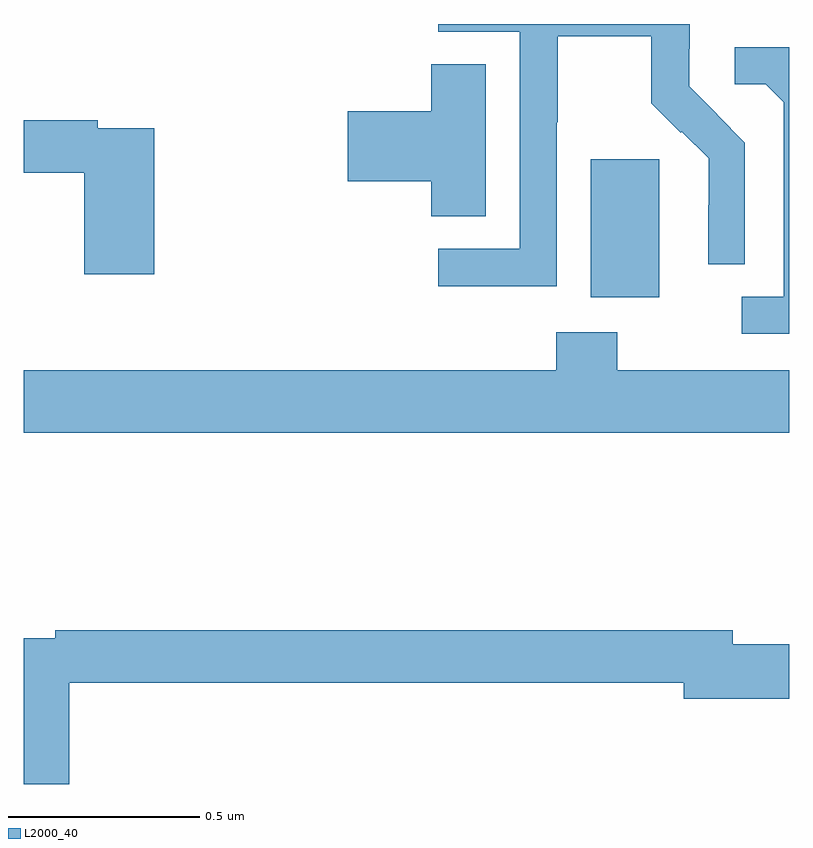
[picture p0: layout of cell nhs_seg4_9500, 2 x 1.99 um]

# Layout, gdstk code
import gdstk
lib = gdstk.Library(unit=1e-6, precision=1e-09)
def R(c, l, rs):  # rectangles x0, y0, x1, y1
    for r in rs: c.add(gdstk.rectangle(r[:2], r[2:], *l))
def P(c, l, *ps):  # polygons
    for p in ps: c.add(gdstk.Polygon(p, *l))
L2000_40 = (2000, 40)

nhs_seg4_9500 = lib.new_cell('nhs_seg4_9500')
R(nhs_seg4_9500, L2000_40, [(229.481,785.186,229.66,785.547)])
P(nhs_seg4_9500, L2000_40, [(229.392,785.644),(229.395,785.644),(229.395,785.868),(229.639,785.868),(229.639,785.693),(229.716,785.616),(229.719,785.619),(229.79,785.549),(229.79,785.426),(229.788,785.426),(229.788,785.272),(229.884,785.272),(229.884,785.59),(229.811,785.663),(229.812,785.664),(229.738,785.738),(229.738,785.835),(229.74,785.835),(229.74,785.9),(229.083,785.9),(229.083,785.88),(229.296,785.88),(229.296,785.313),(229.083,785.313),(229.083,785.215),(229.392,785.215)],
  [(230,785.839),(229.857,785.839),(229.857,785.742),(229.938,785.742),(229.985,785.695),(229.985,785.187),(229.875,785.187),(229.875,785.091),(230,785.091)],
  [(229.207,785.795),(229.064,785.795),(229.064,785.672),(228.846,785.672),(228.846,785.489),(229.064,785.489),(229.064,785.398),(229.207,785.398)],
  [(228.341,785.628),(228.194,785.628),(228.194,785.648),(228,785.648),(228,785.512),(228.158,785.512),(228.158,785.247),(228.341,785.247)],
  [(230,784.996),(229.551,784.996),(229.551,785.095),(229.391,785.095),(229.391,784.996),(228,784.996),(228,784.832),(230,784.832)],
  [(228.119,784.18),(229.724,784.18),(229.724,784.138),(230,784.138),(230,784.28),(229.852,784.28),(229.852,784.316),(228.082,784.316),(228.082,784.296),(228,784.296),(228,783.915),(228.119,783.915)])

lib.write_gds('nhs_seg4_9500.gds')
